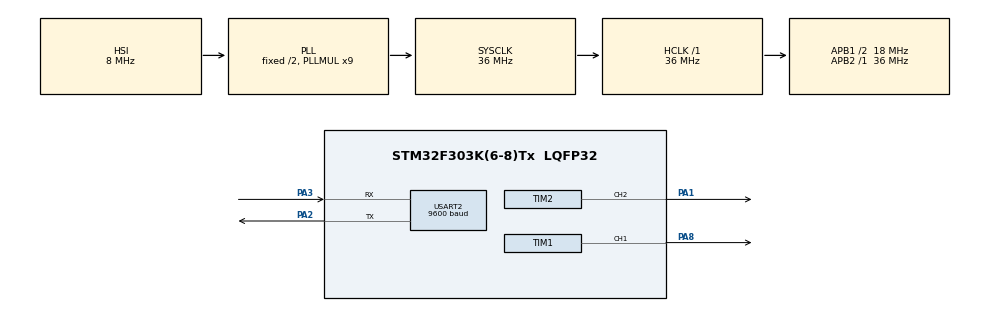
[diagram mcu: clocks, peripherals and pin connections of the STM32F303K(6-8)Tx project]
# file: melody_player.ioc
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Dma.Request0=TIM1_CH1
Dma.TIM1_CH1.0.Direction=DMA_MEMORY_TO_PERIPH
Dma.TIM1_CH1.0.Instance=DMA1_Channel2
Dma.TIM1_CH1.0.MemDataAlignment=DMA_MDATAALIGN_HALFWORD
Dma.TIM1_CH1.0.MemInc=DMA_MINC_ENABLE
Dma.TIM1_CH1.0.Mode=DMA_NORMAL
Dma.TIM1_CH1.0.PeriphDataAlignment=DMA_PDATAALIGN_HALFWORD
Dma.TIM1_CH1.0.PeriphInc=DMA_PINC_DISABLE
Dma.TIM1_CH1.0.Priority=DMA_PRIORITY_HIGH
Mcu.Family=STM32F3
Mcu.Name=STM32F303K(6-8)Tx
Mcu.Package=LQFP32
NVIC.DMA1_Channel2_IRQn=true\:0\:0\:false\:false\:true\:false\:true\:true
NVIC.PriorityGroup=NVIC_PRIORITYGROUP_4
NVIC.USART2_IRQn=true\:0\:0\:false\:false\:true\:true\:true\:true
PA1.Signal=S_TIM2_CH2
PA2.Mode=Asynchronous
PA2.Signal=USART2_TX
PA3.Mode=Asynchronous
PA3.Signal=USART2_RX
PA8.GPIO_Speed=GPIO_SPEED_FREQ_HIGH
PA8.Signal=S_TIM1_CH1
ProjectManager.HeapSize=0x200
ProjectManager.StackSize=0x400
ProjectManager.TargetToolchain=STM32CubeIDE
RCC.AHBFreq_Value=36000000
RCC.APB1CLKDivider=RCC_HCLK_DIV2
RCC.APB1Freq_Value=18000000
RCC.APB1TimFreq_Value=36000000
RCC.APB2Freq_Value=36000000
RCC.APB2TimFreq_Value=36000000
RCC.CortexFreq_Value=36000000
RCC.HCLKFreq_Value=36000000
RCC.HSE_VALUE=8000000
RCC.HSI_VALUE=8000000
RCC.PLLMUL=RCC_PLL_MUL9
RCC.SYSCLKFreq_VALUE=36000000
RCC.SYSCLKSourceVirtual=RCC_SYSCLKSOURCE_PLLCLK
RCC.TIM1Selection=RCC_TIM1CLK_PLLCLK
SH.S_TIM1_CH1.0=TIM1_CH1,PWM Generation1 CH1
SH.S_TIM2_CH2.0=TIM2_CH2,PWM Generation2 CH2
TIM1.AutoReloadPreload=TIM_AUTORELOAD_PRELOAD_ENABLE
TIM1.Channel-PWM\ Generation1\ CH1=TIM_CHANNEL_1
TIM1.Period=89
TIM1.Prescaler=0
TIM2.Channel-PWM\ Generation2\ CH2=TIM_CHANNEL_2
USART2.BaudRate=9600
USART2.VirtualMode-Asynchronous=VM_ASYNC
VP_TIM1_VS_ClockSourceINT.Mode=Internal
board=custom

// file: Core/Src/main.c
/* USER CODE BEGIN Header */
/**
  ******************************************************************************
  * @file           : main.c
  * @brief          : Main program body
  ******************************************************************************
  * @attention
  *
  * Copyright (c) 2026 STMicroelectronics.
  * All rights reserved.
  *
  * This software is licensed under terms that can be found in the LICENSE file
  * in the root directory of this software component.
  * If no LICENSE file comes with this software, it is provided AS-IS.
  *
  ******************************************************************************
  */
/* USER CODE END Header */
#include "main.h"

/* USER CODE BEGIN Includes */
#include "speaker.h"
#include "ws2812.h"
#include "melodies.h"
#include "bt.h"
#include "player.h"
#include "string.h"

/* USER CODE END Includes */

TIM_HandleTypeDef htim1;
TIM_HandleTypeDef htim2;
DMA_HandleTypeDef hdma_tim1_ch1;

UART_HandleTypeDef huart2;

/* USER CODE BEGIN PV */
bt_context_t bt_ctx;
/* USER CODE END PV */

void SystemClock_Config(void);
static void MX_GPIO_Init(void);
static void MX_DMA_Init(void);
static void MX_TIM1_Init(void);
static void MX_USART2_UART_Init(void);
static void MX_TIM2_Init(void);

/* USER CODE BEGIN 0 */

system_state_t system_state = SYS_STOPPED;

/* USER CODE END 0 */

int main(void)
{

  /* MCU Configuration--------------------------------------------------------*/

  /* Reset of all peripherals, Initializes the Flash interface and the Systick. */
  HAL_Init();

  /* Configure the system clock */
  SystemClock_Config();

  /* Initialize all configured peripherals */
  MX_GPIO_Init();
  MX_DMA_Init();
  MX_TIM1_Init();
  MX_USART2_UART_Init();
  MX_TIM2_Init();
  /* USER CODE BEGIN 2 */
  Speaker_Init(&htim2, TIM_CHANNEL_2);
  WS2812_Init();
  bt_init(&huart2, &bt_ctx);
  Player_Init();
  /* USER CODE END 2 */

  /* Infinite loop */
  /* USER CODE BEGIN WHILE */
  while (1)
  {
      bt_process_rx();

      if (bt_has_new_command()) {
		if (bt_ctx.state == BT_STATE_PLAYING) {
			Player_Start(bt_ctx.melody_id);
		}
		else {
			Player_Stop();
		}
		bt_clear_new_command_flag();
	}
  }
}
    /* USER CODE END WHILE */

void SystemClock_Config(void)
{
  RCC_OscInitTypeDef RCC_OscInitStruct = {0};
  RCC_ClkInitTypeDef RCC_ClkInitStruct = {0};
  RCC_PeriphCLKInitTypeDef PeriphClkInit = {0};

  /** Initializes the RCC Oscillators according to the specified parameters
  * in the RCC_OscInitTypeDef structure.
  */
  RCC_OscInitStruct.OscillatorType = RCC_OSCILLATORTYPE_HSI;
  RCC_OscInitStruct.HSIState = RCC_HSI_ON;
  RCC_OscInitStruct.HSICalibrationValue = RCC_HSICALIBRATION_DEFAULT;
  RCC_OscInitStruct.PLL.PLLState = RCC_PLL_ON;
  RCC_OscInitStruct.PLL.PLLSource = RCC_PLLSOURCE_HSI;
  RCC_OscInitStruct.PLL.PLLMUL = RCC_PLL_MUL9;
  if (HAL_RCC_OscConfig(&RCC_OscInitStruct) != HAL_OK)
  {
    Error_Handler();
  }

  /** Initializes the CPU, AHB and APB buses clocks
  */
  RCC_ClkInitStruct.ClockType = RCC_CLOCKTYPE_HCLK|RCC_CLOCKTYPE_SYSCLK
                              |RCC_CLOCKTYPE_PCLK1|RCC_CLOCKTYPE_PCLK2;
  RCC_ClkInitStruct.SYSCLKSource = RCC_SYSCLKSOURCE_PLLCLK;
  RCC_ClkInitStruct.AHBCLKDivider = RCC_SYSCLK_DIV1;
  RCC_ClkInitStruct.APB1CLKDivider = RCC_HCLK_DIV2;
  RCC_ClkInitStruct.APB2CLKDivider = RCC_HCLK_DIV1;

  if (HAL_RCC_ClockConfig(&RCC_ClkInitStruct, FLASH_LATENCY_1) != HAL_OK)
  {
    Error_Handler();
  }
  PeriphClkInit.PeriphClockSelection = RCC_PERIPHCLK_TIM1;
  PeriphClkInit.Tim1ClockSelection = RCC_TIM1CLK_PLLCLK;
  if (HAL_RCCEx_PeriphCLKConfig(&PeriphClkInit) != HAL_OK)
  {
    Error_Handler();
  }
}

static void MX_TIM1_Init(void)
{

  TIM_ClockConfigTypeDef sClockSourceConfig = {0};
  TIM_MasterConfigTypeDef sMasterConfig = {0};
  TIM_OC_InitTypeDef sConfigOC = {0};
  TIM_BreakDeadTimeConfigTypeDef sBreakDeadTimeConfig = {0};

  htim1.Instance = TIM1;
  htim1.Init.Prescaler = 0;
  htim1.Init.CounterMode = TIM_COUNTERMODE_UP;
  htim1.Init.Period = 89;
  htim1.Init.ClockDivision = TIM_CLOCKDIVISION_DIV1;
  htim1.Init.RepetitionCounter = 0;
  htim1.Init.AutoReloadPreload = TIM_AUTORELOAD_PRELOAD_ENABLE;
  if (HAL_TIM_Base_Init(&htim1) != HAL_OK)
  {
    Error_Handler();
  }
  sClockSourceConfig.ClockSource = TIM_CLOCKSOURCE_INTERNAL;
  if (HAL_TIM_ConfigClockSource(&htim1, &sClockSourceConfig) != HAL_OK)
  {
    Error_Handler();
  }
  if (HAL_TIM_PWM_Init(&htim1) != HAL_OK)
  {
    Error_Handler();
  }
  sMasterConfig.MasterOutputTrigger = TIM_TRGO_RESET;
  sMasterConfig.MasterOutputTrigger2 = TIM_TRGO2_RESET;
  sMasterConfig.MasterSlaveMode = TIM_MASTERSLAVEMODE_DISABLE;
  if (HAL_TIMEx_MasterConfigSynchronization(&htim1, &sMasterConfig) != HAL_OK)
  {
    Error_Handler();
  }
  sConfigOC.OCMode = TIM_OCMODE_PWM1;
  sConfigOC.Pulse = 0;
  sConfigOC.OCPolarity = TIM_OCPOLARITY_HIGH;
  sConfigOC.OCNPolarity = TIM_OCNPOLARITY_HIGH;
  sConfigOC.OCFastMode = TIM_OCFAST_DISABLE;
  sConfigOC.OCIdleState = TIM_OCIDLESTATE_RESET;
  sConfigOC.OCNIdleState = TIM_OCNIDLESTATE_RESET;
  if (HAL_TIM_PWM_ConfigChannel(&htim1, &sConfigOC, TIM_CHANNEL_1) != HAL_OK)
  {
    Error_Handler();
  }
  sBreakDeadTimeConfig.OffStateRunMode = TIM_OSSR_DISABLE;
  sBreakDeadTimeConfig.OffStateIDLEMode = TIM_OSSI_DISABLE;
  sBreakDeadTimeConfig.LockLevel = TIM_LOCKLEVEL_OFF;
  sBreakDeadTimeConfig.DeadTime = 0;
  sBreakDeadTimeConfig.BreakState = TIM_BREAK_DISABLE;
  sBreakDeadTimeConfig.BreakPolarity = TIM_BREAKPOLARITY_HIGH;
  sBreakDeadTimeConfig.BreakFilter = 0;
  sBreakDeadTimeConfig.Break2State = TIM_BREAK2_DISABLE;
  sBreakDeadTimeConfig.Break2Polarity = TIM_BREAK2POLARITY_HIGH;
  sBreakDeadTimeConfig.Break2Filter = 0;
  sBreakDeadTimeConfig.AutomaticOutput = TIM_AUTOMATICOUTPUT_DISABLE;
  if (HAL_TIMEx_ConfigBreakDeadTime(&htim1, &sBreakDeadTimeConfig) != HAL_OK)
  {
    Error_Handler();
  }
  HAL_TIM_MspPostInit(&htim1);

}

static void MX_TIM2_Init(void)
{

  TIM_MasterConfigTypeDef sMasterConfig = {0};
  TIM_OC_InitTypeDef sConfigOC = {0};

  htim2.Instance = TIM2;
  htim2.Init.Prescaler = 0;
  htim2.Init.CounterMode = TIM_COUNTERMODE_UP;
  htim2.Init.Period = 4294967295;
  htim2.Init.ClockDivision = TIM_CLOCKDIVISION_DIV1;
  htim2.Init.AutoReloadPreload = TIM_AUTORELOAD_PRELOAD_DISABLE;
  if (HAL_TIM_PWM_Init(&htim2) != HAL_OK)
  {
    Error_Handler();
  }
  sMasterConfig.MasterOutputTrigger = TIM_TRGO_RESET;
  sMasterConfig.MasterSlaveMode = TIM_MASTERSLAVEMODE_DISABLE;
  if (HAL_TIMEx_MasterConfigSynchronization(&htim2, &sMasterConfig) != HAL_OK)
  {
    Error_Handler();
  }
  sConfigOC.OCMode = TIM_OCMODE_PWM1;
  sConfigOC.Pulse = 0;
  sConfigOC.OCPolarity = TIM_OCPOLARITY_HIGH;
  sConfigOC.OCFastMode = TIM_OCFAST_DISABLE;
  if (HAL_TIM_PWM_ConfigChannel(&htim2, &sConfigOC, TIM_CHANNEL_2) != HAL_OK)
  {
    Error_Handler();
  }
  HAL_TIM_MspPostInit(&htim2);

}

static void MX_USART2_UART_Init(void)
{

  huart2.Instance = USART2;
  huart2.Init.BaudRate = 9600;
  huart2.Init.WordLength = UART_WORDLENGTH_8B;
  huart2.Init.StopBits = UART_STOPBITS_1;
  huart2.Init.Parity = UART_PARITY_NONE;
  huart2.Init.Mode = UART_MODE_TX_RX;
  huart2.Init.HwFlowCtl = UART_HWCONTROL_NONE;
  huart2.Init.OverSampling = UART_OVERSAMPLING_16;
  huart2.Init.OneBitSampling = UART_ONE_BIT_SAMPLE_DISABLE;
  huart2.AdvancedInit.AdvFeatureInit = UART_ADVFEATURE_NO_INIT;
  if (HAL_UART_Init(&huart2) != HAL_OK)
  {
    Error_Handler();
  }

}

static void MX_DMA_Init(void)
{

  /* DMA controller clock enable */
  __HAL_RCC_DMA1_CLK_ENABLE();

  /* DMA interrupt init */
  /* DMA1_Channel2_IRQn interrupt configuration */
  HAL_NVIC_SetPriority(DMA1_Channel2_IRQn, 0, 0);
  HAL_NVIC_EnableIRQ(DMA1_Channel2_IRQn);

}

static void MX_GPIO_Init(void)
{

  /* GPIO Ports Clock Enable */
  __HAL_RCC_GPIOA_CLK_ENABLE();

}

void Error_Handler(void)
{
  __disable_irq();
  while (1)
  {
  }
}
